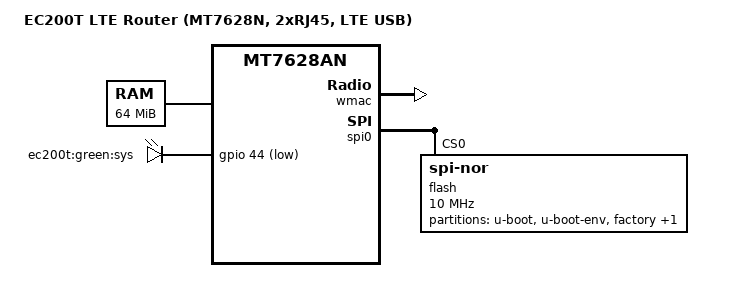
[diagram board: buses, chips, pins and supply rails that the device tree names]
// SPDX-License-Identifier: GPL-2.0-or-later
/dts-v1/;
#include "mt7628an.dtsi"
#include <dt-bindings/gpio/gpio.h>
#include <dt-bindings/leds/common.h>

/ {
    compatible = "custom,ec200t-router", "ec200t,mt7628n-ec200t-lte-router", "mediatek,mt7628n-soc", "mediatek,mt7628an-soc";
    model = "EC200T LTE Router (MT7628N, 2xRJ45, LTE USB)";

    chosen {
        bootargs = "console=ttyS0,57600";
    };

    memory@0 {
        device_type = "memory";
        reg = <0x0 0x4000000>; /* 64 MiB from boot log */
    };

    aliases {
        led-boot = &led_sys;
        led-failsafe = &led_sys;
        led-running = &led_sys;
        led-upgrade = &led_sys;
    };

    /* Optional LED block (safe to remove or change GPIO later) */
    leds {
        compatible = "gpio-leds";
        led_sys: sys {
            label = "ec200t:green:sys";
            gpios = <&gpio 44 GPIO_ACTIVE_LOW>; /* adjust if needed */
            default-state = "on";
        };
    };
};

/* ---------------- Ethernet MAC + Embedded Switch (legacy ESW) --------------- */

&ethernet {
    /* Pull base MAC from factory 0x04 */
    nvmem-cells = <&macaddr_factory_4>;
    nvmem-cell-names = "mac-address";
};

&esw {
    /* Enable only ports 0,1 and CPU port 5 for a 2-port board */
    mediatek,portmap = <0x23>; /* bits: 0,1,5 */
};

/* ---------------- Wi-Fi (internal MT7628) ----------------------------------- */

&wmac {
    status = "okay";
    /* Cal data in factory@0, MAC also available at factory@0x4 */
    nvmem-cells = <&eeprom_factory_0 &macaddr_factory_4>;
    nvmem-cell-names = "eeprom", "mac-address";
};

/* ---------------- Factory NVMEM cells are defined inside SPI partition ------ */

/* ---------------- SPI-NOR flash layout (16 MiB) ---------------------------- */

&spi0 {
    status = "okay";

    flash@0 {
        compatible = "jedec,spi-nor";
        reg = <0>;
        spi-max-frequency = <10000000>;

        partitions {
            compatible = "fixed-partitions";
            #address-cells = <1>;
            #size-cells = <1>;

            partition@0 {
                label = "u-boot";
                reg = <0x00000 0x30000>;
                read-only;
            };

            partition@30000 {
                label = "u-boot-env";
                reg = <0x30000 0x10000>;
                read-only;
            };

            partition@40000 {
                label = "factory";
                reg = <0x40000 0x10000>;
                read-only;

                nvmem-layout {
                    compatible = "fixed-layout";
                    #address-cells = <1>;
                    #size-cells = <1>;

                    eeprom_factory_0: eeprom@0 {
                        reg = <0x0 0x400>;
                    };

                    macaddr_factory_4: macaddr@4 {
                        reg = <0x4 0x6>;
                    };
                };
            };

            partition@50000 {
                compatible = "openwrt,uimage", "denx,uimage";
                openwrt,ih-magic = <0x27151967>;
                label = "firmware";
                reg = <0x50000 0xfb0000>;
            };
        };
    };
};
